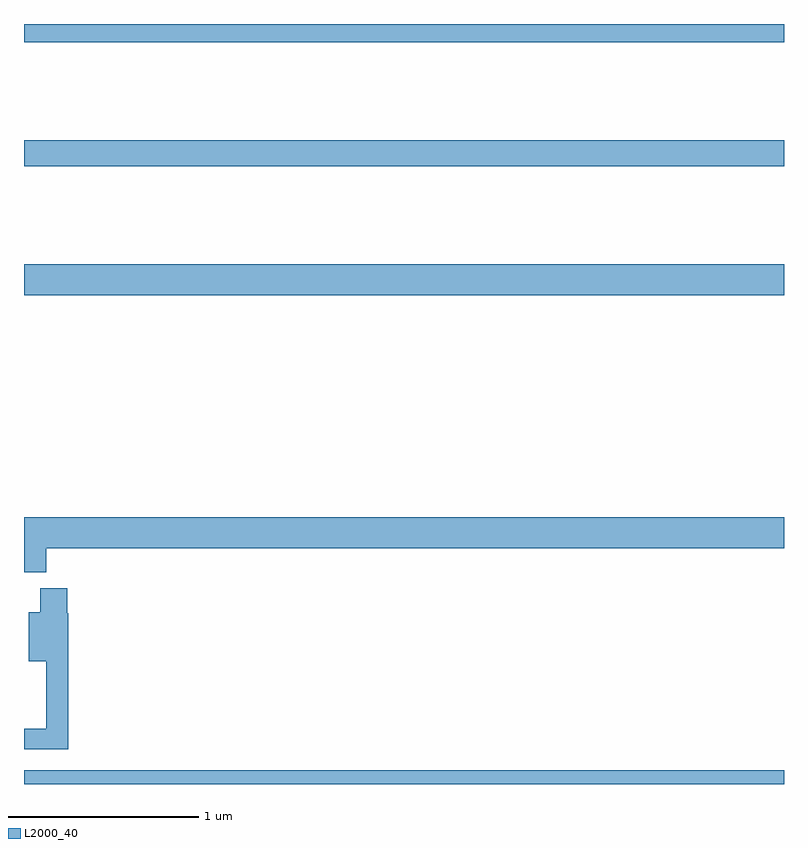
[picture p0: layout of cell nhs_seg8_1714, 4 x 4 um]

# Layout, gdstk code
import gdstk
lib = gdstk.Library(unit=1e-6, precision=1e-09)
def R(c, l, rs):  # rectangles x0, y0, x1, y1
    for r in rs: c.add(gdstk.rectangle(r[:2], r[2:], *l))
def P(c, l, *ps):  # polygons
    for p in ps: c.add(gdstk.Polygon(p, *l))
L2000_40 = (2000, 40)

nhs_seg8_1714 = lib.new_cell('nhs_seg8_1714')
R(nhs_seg8_1714, L2000_40, [(219,1141.9,223,1141.972), (219,1144.472,223,1144.636), (219,1145.152,223,1145.288), (219,1145.804,223,1145.9)])
P(nhs_seg8_1714, L2000_40, [(219.116,1143.14),(223,1143.14),(223,1143.304),(219,1143.304),(219,1143.014),(219.116,1143.014)],
  [(219.233,1142.799),(219.227,1142.799),(219.227,1142.929),(219.086,1142.929),(219.086,1142.803),(219.026,1142.803),(219.026,1142.546),(219.116,1142.546),(219.116,1142.191),(219,1142.191),(219,1142.082),(219.233,1142.082)])

lib.write_gds('nhs_seg8_1714.gds')
